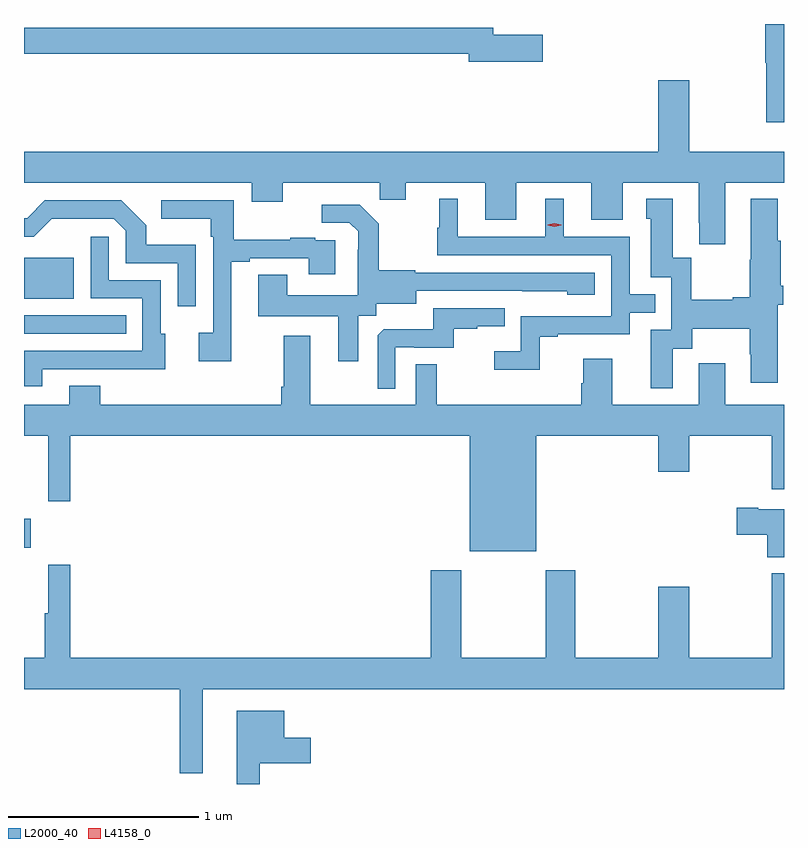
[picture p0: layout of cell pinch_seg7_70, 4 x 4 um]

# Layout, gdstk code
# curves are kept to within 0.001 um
import gdstk
lib = gdstk.Library(unit=1e-6, precision=1e-09)
def R(c, l, rs):  # rectangles x0, y0, x1, y1
    for r in rs: c.add(gdstk.rectangle(r[:2], r[2:], *l))
def P(c, l, *ps):  # polygons
    for p in ps: c.add(gdstk.Polygon(p, *l))
L2000_40 = (2000, 40)
L4158_0 = (4158, 0)

pinch_seg7_70 = lib.new_cell('pinch_seg7_70')
R(pinch_seg7_70, L2000_40, [(952.879,1063.964,952.915,1064.116), (952.879,1065.09,953.417,1065.186), (952.879,1065.275,953.14,1065.49)])
P(pinch_seg7_70, L2000_40, [(956.879,1066.72),(956.78,1066.72),(956.78,1066.515),(956.785,1066.515),(956.785,1066.203),(956.879,1066.203)],
  [(955.609,1066.664),(955.348,1066.664),(955.348,1066.7),(952.879,1066.7),(952.879,1066.564),(955.22,1066.564),(955.22,1066.522),(955.609,1066.522)],
  [(956.569,1065.884),(956.879,1065.884),(956.879,1066.048),(956.38,1066.048),(956.38,1066.423),(956.216,1066.423),(956.216,1066.048),(952.879,1066.048),(952.879,1065.884),(954.077,1065.884),(954.077,1065.785),(954.241,1065.785),(954.241,1065.884),(954.751,1065.884),(954.751,1065.794),(954.889,1065.794),(954.889,1065.884),(955.307,1065.884),(955.307,1065.69),(955.471,1065.69),(955.471,1065.884),(955.865,1065.884),(955.865,1065.69),(956.029,1065.69),(956.029,1065.884),(956.429,1065.884),(956.429,1065.673),(956.432,1065.673),(956.432,1065.561),(956.569,1065.561)],
  [(955.593,1065.075),(955.687,1065.075),(955.687,1065.087),(956.067,1065.087),(956.067,1065.201),(956.201,1065.201),(956.201,1065.297),(956.067,1065.297),(956.067,1065.6),(955.72,1065.6),(955.72,1065.799),(955.622,1065.799),(955.622,1065.6),(955.162,1065.6),(955.162,1065.799),(955.064,1065.799),(955.064,1065.648),(955.053,1065.648),(955.053,1065.504),(955.971,1065.504),(955.971,1065.183),(955.494,1065.183),(955.494,1064.998),(955.353,1064.998),(955.353,1064.9),(955.593,1064.9)],
  [(956.293,1065.01),(956.395,1065.01),(956.395,1065.116),(956.698,1065.116),(956.698,1064.982),(956.705,1064.982),(956.705,1064.832),(956.845,1064.832),(956.845,1065.243),(956.876,1065.243),(956.876,1065.343),(956.863,1065.343),(956.863,1065.579),(956.845,1065.579),(956.845,1065.799),(956.705,1065.799),(956.705,1065.479),(956.698,1065.479),(956.698,1065.281),(956.609,1065.281),(956.609,1065.268),(956.391,1065.268),(956.391,1065.491),(956.293,1065.491),(956.293,1065.799),(956.153,1065.799),(956.153,1065.696),(956.177,1065.696),(956.177,1065.387),(956.286,1065.387),(956.286,1065.111),(956.177,1065.111),(956.177,1064.802),(956.293,1064.802)],
  [(953.784,1065.559),(953.523,1065.559),(953.523,1065.662),(953.392,1065.792),(952.989,1065.792),(952.895,1065.698),(952.879,1065.698),(952.879,1065.6),(952.929,1065.6),(953.024,1065.695),(953.352,1065.696),(953.415,1065.633),(953.415,1065.462),(953.688,1065.462),(953.688,1065.234),(953.784,1065.234)],
  [(953.971,1065.468),(954.067,1065.468),(954.067,1065.486),(954.377,1065.486),(954.377,1065.402),(954.517,1065.402),(954.517,1065.582),(954.413,1065.582),(954.413,1065.595),(954.281,1065.595),(954.281,1065.584),(953.983,1065.584),(953.983,1065.792),(953.601,1065.792),(953.601,1065.695),(953.862,1065.695),(953.862,1065.599),(953.874,1065.599),(953.874,1065.094),(953.799,1065.094),(953.799,1064.946),(953.971,1064.946)],
  [(954.637,1065.184),(954.732,1065.184),(954.732,1065.248),(954.943,1065.248),(954.943,1065.315),(955.737,1065.314),(955.737,1065.296),(955.882,1065.296),(955.882,1065.411),(954.939,1065.411),(954.939,1065.424),(954.747,1065.424),(954.747,1065.669),(954.647,1065.769),(954.447,1065.769),(954.447,1065.675),(954.591,1065.675),(954.638,1065.628),(954.638,1065.533),(954.636,1065.533),(954.636,1065.292),(954.265,1065.292),(954.265,1065.401),(954.113,1065.401),(954.113,1065.182),(954.533,1065.182),(954.533,1064.946),(954.637,1064.946)],
  [(952.975,1064.904),(953.405,1064.904),(953.405,1064.903),(953.623,1064.903),(953.623,1065.09),(953.598,1065.09),(953.598,1065.372),(953.325,1065.372),(953.325,1065.601),(953.229,1065.601),(953.229,1065.276),(953.502,1065.276),(953.502,1065),(952.879,1065),(952.879,1064.814),(952.975,1064.814)],
  [(954.834,1065.018),(954.934,1065.018),(954.934,1065.015),(955.142,1065.015),(955.142,1065.117),(955.265,1065.117),(955.265,1065.128),(955.409,1065.128),(955.409,1065.225),(955.032,1065.225),(955.032,1065.113),(954.773,1065.113),(954.741,1065.081),(954.741,1064.801),(954.834,1064.801)],
  [(955.576,1064.552),(956.216,1064.552),(956.216,1064.364),(956.38,1064.364),(956.38,1064.552),(956.815,1064.552),(956.815,1064.271),(956.879,1064.271),(956.879,1064.716),(956.569,1064.716),(956.569,1064.935),(956.429,1064.935),(956.429,1064.716),(955.975,1064.716),(955.975,1064.959),(955.823,1064.959),(955.823,1064.829),(955.811,1064.829),(955.811,1064.716),(955.051,1064.716),(955.051,1064.93),(954.942,1064.93),(954.942,1064.716),(954.385,1064.716),(954.385,1065.079),(954.245,1065.079),(954.245,1064.812),(954.233,1064.812),(954.233,1064.716),(953.281,1064.716),(953.281,1064.815),(953.117,1064.815),(953.117,1064.716),(952.879,1064.716),(952.879,1064.552),(953.006,1064.552),(953.006,1064.208),(953.123,1064.208),(953.123,1064.552),(955.226,1064.552),(955.226,1063.946),(955.576,1063.946)],
  [(956.879,1064.167),(956.743,1064.167),(956.743,1064.175),(956.631,1064.175),(956.631,1064.033),(956.792,1064.033),(956.792,1063.913),(956.879,1063.913)],
  [(953.821,1063.22),(956.879,1063.22),(956.879,1063.828),(956.815,1063.828),(956.815,1063.384),(956.38,1063.384),(956.38,1063.759),(956.216,1063.759),(956.216,1063.384),(955.779,1063.384),(955.779,1063.846),(955.624,1063.846),(955.624,1063.384),(955.179,1063.384),(955.179,1063.846),(955.019,1063.846),(955.019,1063.384),(953.123,1063.384),(953.123,1063.873),(953.006,1063.873),(953.006,1063.62),(952.987,1063.62),(952.987,1063.384),(952.879,1063.384),(952.879,1063.22),(953.7,1063.22),(953.7,1062.776),(953.821,1062.776)],
  [(954.121,1062.83),(954.388,1062.83),(954.388,1062.964),(954.25,1062.964),(954.25,1063.105),(953.999,1063.105),(953.999,1062.72),(954.121,1062.72)])
P(pinch_seg7_70, L4158_0, [(955.671,1065.652),(955.636,1065.662),(955.635,1065.662),(955.636,1065.663),(955.671,1065.672),(955.706,1065.663),(955.707,1065.662),(955.706,1065.662)])

lib.write_gds('pinch_seg7_70.gds')
